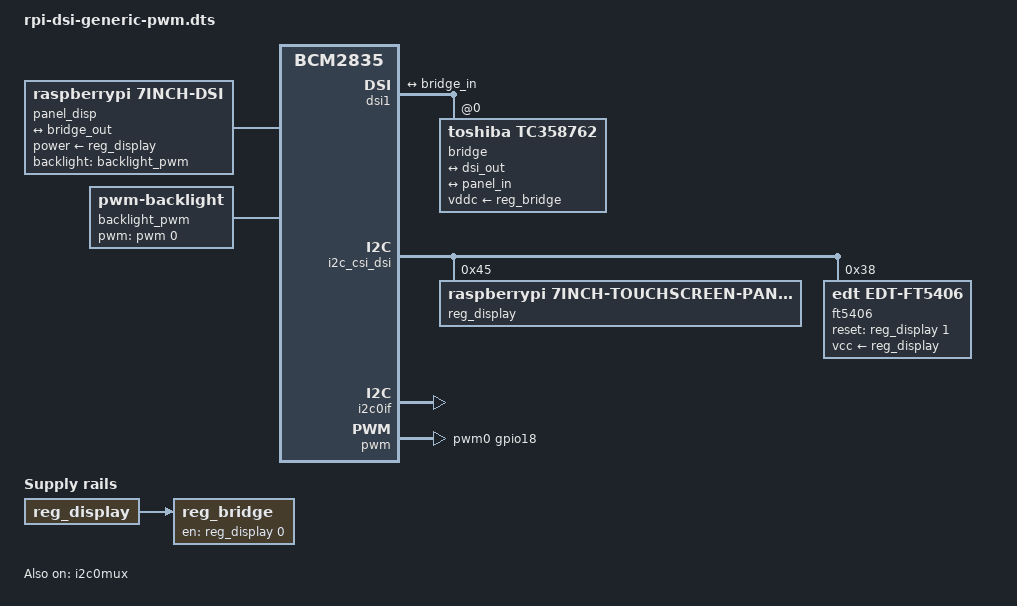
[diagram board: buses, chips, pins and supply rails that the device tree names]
/* https://github.com/pipbug/rpi-dsi-generic-pwm */
/dts-v1/;
/plugin/;

/ {
	compatible = "brcm,bcm2711,bcm2835";

	fragment@0 {
		target = <&dsi1>;
		__overlay__ {
			#address-cells = <1>;
			#size-cells = <0>;
			status = "okay";
			
			port {
				dsi_out: endpoint {
					remote-endpoint = <&bridge_in>;
				};
			};
			
			bridge@0 {
				reg = <0>;
				compatible = "toshiba,tc358762";
				vddc-supply = <&reg_bridge>;
				
				ports {
					#address-cells = <1>;
					#size-cells = <0>;
					
					port@0 {
						reg = <0>;
						bridge_in: endpoint {
							remote-endpoint = <&dsi_out>;
						};
					};
					
					port@1 {
						reg = <1>;
						bridge_out: endpoint {
							remote-endpoint = <&panel_in>;
						};
					};
				};
			};
		};
	};

	fragment@1 {
		target-path = "/";
		__overlay__ {
			panel_disp: panel-disp {
				compatible = "raspberrypi,7inch-dsi", "simple-panel";
				backlight = <&backlight_pwm>;
				power-supply = <&reg_display>;
				
				port {
					panel_in: endpoint {
						remote-endpoint = <&bridge_out>;
					};
				};
			};

			reg_bridge: reg-bridge {
				compatible = "regulator-fixed";
				regulator-name = "bridge_reg";
				gpio = <&reg_display 0 0>;
				vin-supply = <&reg_display>;
				enable-active-high;
			};

			/* PWM Backlight configuration */
			backlight_pwm: backlight {
				compatible = "pwm-backlight";
				pwms = <&pwm 0 1000000 0>;  /* PWM0, 1ms period (1kHz), normal polarity */
				brightness-levels = <0 10 20 30 50 70 100 130 170 210 255>; /* Rough gamma 2.2 curve */
				num-interpolated-steps = <256>;
				default-brightness-level = <9>;  /* Default to ~80% brightness */
				status = "okay";
			};
		};
	};

	fragment@2 {
		target = <&i2c_csi_dsi>;
		__overlay__ {
			#address-cells = <1>;
			#size-cells = <0>;
			status = "okay";

			reg_display: reg_display@45 {
				compatible = "raspberrypi,7inch-touchscreen-panel-regulator";
				reg = <0x45>;
				gpio-controller;
				#gpio-cells = <2>;
			};
		};
	};

	fragment@3 {
		target = <&i2c_csi_dsi>;
		__overlay__ {
			#address-cells = <1>;
			#size-cells = <0>;
			status = "okay";

			ft5406: touchscreen@38 {
				compatible = "edt,edt-ft5406";
				reg = <0x38>;
				touchscreen-size-x = <800>;
				touchscreen-size-y = <480>;
				touchscreen-inverted-x; /* Comment this out if your X axis should NOT be inverted */
				touchscreen-inverted-y; /* Comment this out if your Y axis should NOT be inverted */
				/* touchscreen-swapped-x-y; Uncomment this line if your X and Y axes should be swapped */
				vcc-supply = <&reg_display>;
				reset-gpios = <&reg_display 1 0>;
				status = "okay";
			};
		};
	};

	fragment@4 {
		target = <&i2c0if>;
		__overlay__ {
			status = "okay";
		};
	};

	fragment@5 {
		target = <&i2c0mux>;
		__overlay__ {
			status = "okay";
		};
	};

	/* Enable PWM controller */
	fragment@6 {
		target = <&pwm>;
		__overlay__ {
			status = "okay";
			pinctrl-names = "default";
			pinctrl-0 = <&pwm0_gpio18>;
		};
	};

	/* Configure GPIO18 for PWM0 */
	fragment@7 {
		target = <&gpio>;
		__overlay__ {
			pwm0_gpio18: pwm0_gpio18 {
				brcm,pins = <18>;
				brcm,function = <2>;  /* ALT5 = PWM0 */
			};
		};
	};
};
